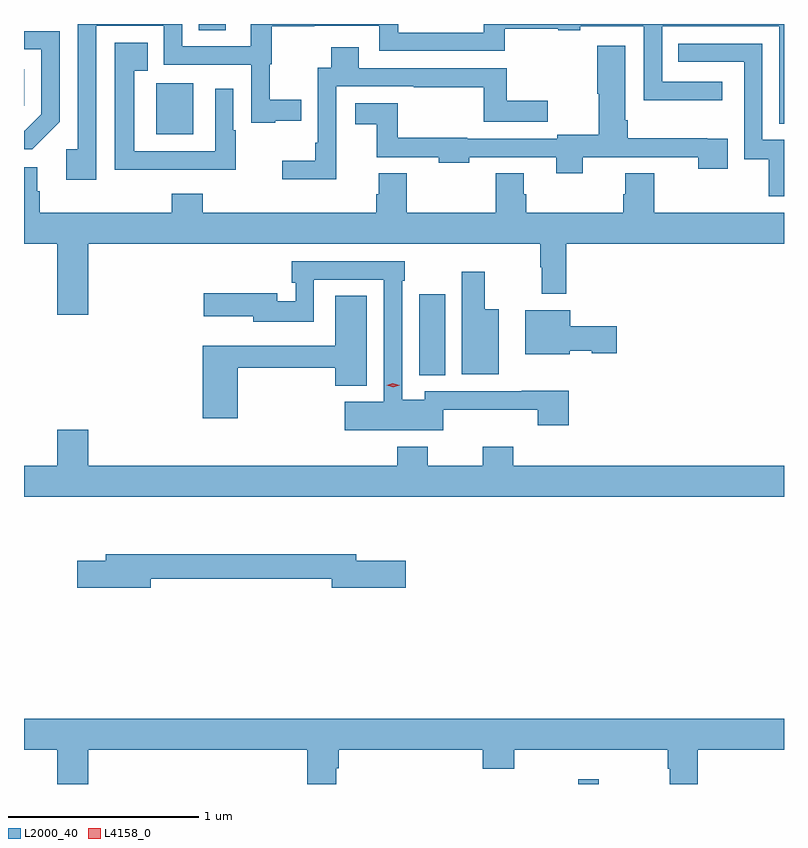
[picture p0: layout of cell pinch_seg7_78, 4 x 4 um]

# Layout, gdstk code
import gdstk
lib = gdstk.Library(unit=1e-6, precision=1e-09)
def R(c, l, rs):  # rectangles x0, y0, x1, y1
    for r in rs: c.add(gdstk.rectangle(r[:2], r[2:], *l))
def P(c, l, *ps):  # polygons
    for p in ps: c.add(gdstk.Polygon(p, *l))
L2000_40 = (2000, 40)
L4158_0 = (4158, 0)

pinch_seg7_78 = lib.new_cell('pinch_seg7_78')
R(pinch_seg7_78, L2000_40, [(922.995,1055.049,923.104,1055.074), (922.157,1057.201,922.294,1057.627), (920.774,1058.468,920.968,1058.736), (920.078,1058.618,920.079,1058.812), (920.999,1059.016,921.139,1059.049)])
P(pinch_seg7_78, L2000_40, [(920.457,1059.039),(920.814,1059.039),(920.814,1058.835),(921.273,1058.835),(921.273,1058.529),(921.401,1058.529),(921.401,1058.54),(921.538,1058.54),(921.538,1058.65),(921.372,1058.65),(921.372,1058.838),(921.382,1058.838),(921.382,1059.037),(921.605,1059.037),(921.605,1059.039),(921.948,1059.039),(921.948,1058.907),(922.609,1058.907),(922.609,1059.024),(922.89,1059.024),(922.89,1059.016),(923.006,1059.016),(923.006,1059.036),(923.34,1059.036),(923.34,1058.648),(923.752,1058.648),(923.752,1058.745),(923.436,1058.745),(923.436,1059.036),(924.054,1059.036),(924.054,1058.524),(924.078,1058.524),(924.078,1059.049),(922.497,1059.049),(922.497,1059.003),(922.047,1059.003),(922.047,1059.049),(921.272,1059.049),(921.272,1058.931),(920.91,1058.931),(920.91,1059.049),(920.361,1059.049),(920.361,1058.39),(920.301,1058.39),(920.301,1058.229),(920.457,1058.229)],
  [(920.265,1058.534),(920.265,1059.012),(920.078,1059.012),(920.078,1058.916),(920.169,1058.916),(920.169,1058.574),(920.083,1058.488),(920.078,1058.488),(920.078,1058.391),(920.122,1058.391)],
  [(920.771,1058.283),(921.193,1058.283),(921.193,1058.49),(921.18,1058.49),(921.18,1058.707),(921.084,1058.707),(921.084,1058.379),(920.659,1058.379),(920.659,1058.804),(920.729,1058.804),(920.729,1058.95),(920.555,1058.95),(920.555,1058.281),(920.771,1058.281)],
  [(924.078,1058.439),(923.964,1058.439),(923.964,1058.946),(923.521,1058.946),(923.521,1058.85),(923.868,1058.85),(923.868,1058.338),(923.999,1058.338),(923.999,1058.142),(924.078,1058.142)],
  [(923.02,1058.349),(923.627,1058.349),(923.627,1058.286),(923.783,1058.286),(923.783,1058.445),(923.675,1058.445),(923.675,1058.447),(923.255,1058.447),(923.255,1058.542),(923.242,1058.542),(923.242,1058.935),(923.095,1058.935),(923.095,1058.682),(923.102,1058.682),(923.102,1058.465),(922.884,1058.465),(922.884,1058.445),(922.41,1058.445),(922.41,1058.45),(922.045,1058.45),(922.045,1058.632),(921.822,1058.632),(921.822,1058.522),(921.935,1058.522),(921.935,1058.349),(922.262,1058.349),(922.262,1058.318),(922.422,1058.318),(922.422,1058.349),(922.88,1058.349),(922.88,1058.264),(923.02,1058.264)],
  [(921.722,1058.721),(922.129,1058.721),(922.129,1058.716),(922.497,1058.716),(922.497,1058.535),(922.834,1058.535),(922.834,1058.644),(922.618,1058.644),(922.618,1058.817),(921.841,1058.817),(921.841,1058.926),(921.694,1058.926),(921.694,1058.82),(921.624,1058.82),(921.624,1058.425),(921.612,1058.425),(921.612,1058.33),(921.438,1058.33),(921.438,1058.231),(921.722,1058.231)],
  [(920.416,1057.892),(922.795,1057.892),(922.795,1057.769),(922.803,1057.769),(922.803,1057.629),(922.931,1057.629),(922.931,1057.892),(924.078,1057.892),(924.078,1058.056),(923.396,1058.056),(923.396,1058.264),(923.243,1058.264),(923.243,1058.154),(923.231,1058.154),(923.231,1058.056),(922.721,1058.056),(922.721,1058.154),(922.708,1058.154),(922.708,1058.264),(922.561,1058.264),(922.561,1058.056),(922.092,1058.056),(922.092,1058.264),(921.944,1058.264),(921.944,1058.154),(921.932,1058.154),(921.932,1058.056),(921.02,1058.056),(921.02,1058.155),(920.855,1058.155),(920.855,1058.056),(920.162,1058.056),(920.162,1058.168),(920.149,1058.168),(920.149,1058.296),(920.078,1058.296),(920.078,1057.892),(920.252,1057.892),(920.252,1057.518),(920.416,1057.518)],
  [(922.284,1057.019),(922.781,1057.019),(922.781,1056.936),(922.946,1056.936),(922.946,1057.118),(922.697,1057.118),(922.697,1057.116),(922.188,1057.116),(922.188,1057.072),(922.068,1057.072),(922.068,1057.697),(922.081,1057.697),(922.081,1057.8),(921.487,1057.8),(921.487,1057.686),(921.507,1057.686),(921.507,1057.591),(921.412,1057.591),(921.412,1057.633),(921.024,1057.633),(921.024,1057.511),(921.284,1057.511),(921.284,1057.482),(921.603,1057.482),(921.603,1057.704),(921.972,1057.704),(921.972,1057.06),(921.765,1057.06),(921.765,1056.911),(922.284,1056.911)],
  [(922.576,1057.549),(922.504,1057.549),(922.504,1057.744),(922.382,1057.744),(922.382,1057.205),(922.576,1057.205)],
  [(921.203,1057.24),(921.716,1057.24),(921.716,1057.145),(921.883,1057.145),(921.883,1057.619),(921.716,1057.619),(921.716,1057.356),(921.02,1057.356),(921.02,1056.975),(921.203,1056.975)],
  [(922.95,1057.328),(923.067,1057.328),(923.067,1057.316),(923.197,1057.316),(923.197,1057.458),(922.954,1057.458),(922.954,1057.543),(922.715,1057.543),(922.715,1057.31),(922.95,1057.31)],
  [(924.078,1056.724),(922.652,1056.724),(922.652,1056.823),(922.492,1056.823),(922.492,1056.724),(922.203,1056.724),(922.203,1056.823),(922.043,1056.823),(922.043,1056.724),(920.416,1056.724),(920.416,1056.913),(920.252,1056.913),(920.252,1056.724),(920.078,1056.724),(920.078,1056.56),(924.078,1056.56)],
  [(920.746,1056.13),(921.698,1056.13),(921.698,1056.083),(922.087,1056.083),(922.087,1056.225),(921.826,1056.225),(921.826,1056.259),(920.507,1056.259),(920.507,1056.225),(920.358,1056.225),(920.358,1056.083),(920.746,1056.083)],
  [(920.416,1055.228),(921.569,1055.228),(921.569,1055.049),(921.721,1055.049),(921.721,1055.132),(921.734,1055.132),(921.734,1055.228),(922.493,1055.228),(922.493,1055.129),(922.658,1055.129),(922.658,1055.228),(923.465,1055.228),(923.465,1055.13),(923.477,1055.13),(923.477,1055.049),(923.625,1055.049),(923.625,1055.228),(924.078,1055.228),(924.078,1055.392),(920.078,1055.392),(920.078,1055.228),(920.252,1055.228),(920.252,1055.049),(920.416,1055.049)])
P(pinch_seg7_78, L4158_0, [(922.021,1057.138),(921.986,1057.147),(921.986,1057.147),(921.986,1057.147),(922.02,1057.158),(922.055,1057.148),(922.056,1057.148),(922.055,1057.148)])

lib.write_gds('pinch_seg7_78.gds')
